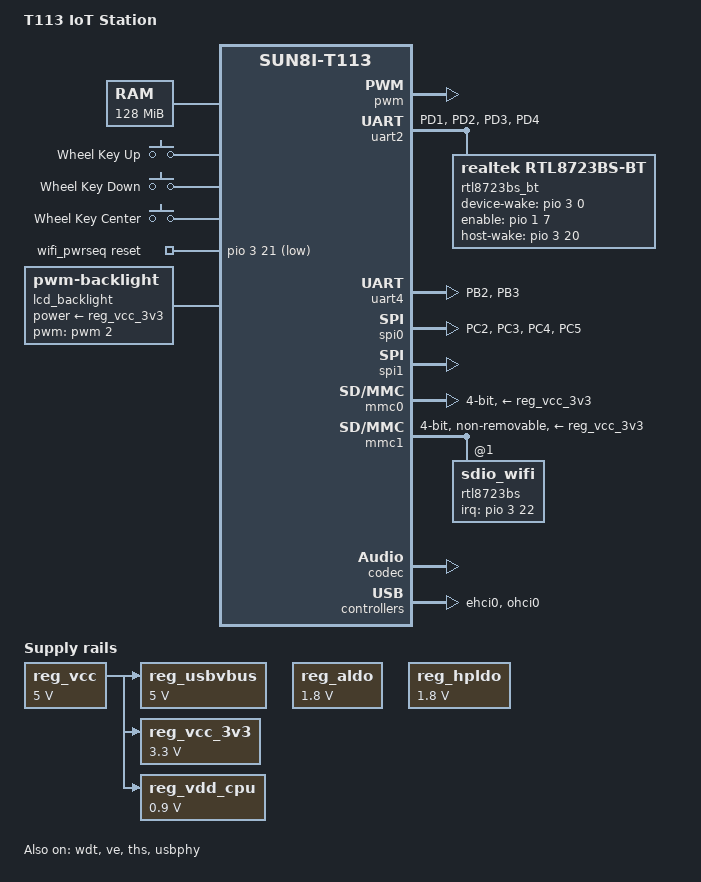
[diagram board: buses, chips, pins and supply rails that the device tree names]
// SPDX-License-Identifier: (GPL-2.0+ or MIT)
// Copyright (C) 2022 Samuel Holland <samuel@sholland.org>

/dts-v1/;

#include <dt-bindings/gpio/gpio.h>
#include <dt-bindings/leds/common.h>
#include <dt-bindings/pwm/pwm.h>
#include <dt-bindings/input/input.h>
#include <dt-bindings/input/gpio-keys.h>
#include "sun8i-t113.dtsi"

/ {
	model = "T113 IoT Station";
	compatible = "fem,t113-iot-station", "allwinner,sun8i-t113";

	aliases {
		ethernet0 = &rtl8723bs;
		mmc0 = &mmc0;
		serial2 = &uart2;
		serial4 = &uart4;
        spi0 = &spi0;
        spi1 = &spi1;
	};

	chosen {
		stdout-path = "serial4:115200n8";
		bootargs = "mem=128M cma=32M root=/dev/mmcblk0p2 rw init=/sbin/init rootwait console=tty0 console=ttyS4,115200";
	};

    memory@40000000 {
		device_type = "memory";
		reg = <0x40000000 0x8000000>;   /* SIP 128MB */
    };
    
	reg_vcc: vcc {
		compatible = "regulator-fixed";
		regulator-name = "vcc";
		regulator-min-microvolt = <5000000>;
		regulator-max-microvolt = <5000000>;
	};

	reg_usbvbus: usbvbus {
		compatible = "regulator-fixed";
		regulator-name = "usbvbus";
		regulator-min-microvolt = <5000000>;
		regulator-max-microvolt = <5000000>;
		vin-supply = <&reg_vcc>;
	};

	reg_vcc_3v3: vcc-3v3 {
		compatible = "regulator-fixed";
		regulator-name = "vcc-3v3";
		regulator-min-microvolt = <3300000>;
		regulator-max-microvolt = <3300000>;
		vin-supply = <&reg_vcc>;
	};

	// reg_avdd2v8: avdd2v8 {
	// 	compatible = "regulator-fixed";
	// 	regulator-name = "avdd2v8";
	// 	regulator-min-microvolt = <2800000>;
	// 	regulator-max-microvolt = <2800000>;
	// 	vin-supply = <&reg_vcc_3v3>;
	// };

	reg_vdd_cpu: vdd-cpu {
		compatible = "regulator-fixed";
		regulator-name = "vdd-cpu";
		regulator-min-microvolt = <900000>;
		regulator-max-microvolt = <900000>;
		vin-supply = <&reg_vcc>;
	};


	// dmic_codec: dmic-codec {
	// 	compatible = "dmic-codec";
	// 	num-channels = <2>;
	// 	#sound-dai-cells = <0>;
	// };

	// dmic-sound {
	// 	compatible = "simple-audio-card";
	// 	#address-cells = <1>;
	// 	#size-cells = <0>;

	// 	simple-audio-card,dai-link@0 {
	// 		format = "pdm";
	// 		frame-master = <&link0_cpu>;
	// 		bitclock-master = <&link0_cpu>;

	// 		link0_cpu: cpu {
	// 			sound-dai = <&dmic>;
	// 		};

	// 		link0_codec: codec {
	// 			sound-dai = <&dmic_codec>;
	// 		};
	// 	};
	// };

	// leds {
	// 	compatible = "gpio-leds";

	// 	status_led {
	// 		linux,default-trigger = "heartbeat";
	// 		label = "blue:status";
	// 		gpios = <&pio 3 22 GPIO_ACTIVE_HIGH>;
	// 	};
	// };

    // rtl8723bs_codec: bt-codec-bt-sco {
    //     #sound-dai-cells = <0>;
    //     compatible = "linux,bt-sco";
    // };

    // rtl8723bs_pcm: bt-sound {
	// 	compatible = "simple-audio-card";
	// 	simple-audio-card,name = "rtl8723bs-bt-pcm";
	// 	simple-audio-card,format = "dsp_a";
    //     simple-audio-card,mclk-fs = <384>;
	// 	simple-audio-card,bitclock-inversion;
	// 	simple-audio-card,frame-master = <&btcpu>;
	// 	simple-audio-card,bitclock-master = <&btcpu>;

	// 	btcpu: simple-audio-card,cpu {
	// 		sound-dai = <&i2s1>;
	// 		dai-tdm-slot-num = <1>;
	// 		dai-tdm-slot-width = <16>;
	// 	};

	// 	simple-audio-card,codec {
	// 		sound-dai = <&rtl8723bs_codec>;
	// 	};
	// };

    wheel_keys: gpio-keys {
        compatible = "gpio-keys";
        autorepeat;

        key-up {
            label = "Wheel Key Up";
            linux,code = <KEY_UP>;
            interrupt-parent = <&pio>;
            interrupts = <4 11 IRQ_TYPE_LEVEL_HIGH>;    /* PE11 */
        };

        key-down {
            label = "Wheel Key Down";
            linux,code = <KEY_DOWN>;
            interrupt-parent = <&pio>;
            interrupts = <4 2 IRQ_TYPE_LEVEL_HIGH>;     /* PE2 */
        };

        key-center {
            label = "Wheel Key Center";
            linux,code = <KEY_ENTER>;
            wakeup-source;
            wakeup-event-action = <EV_ACT_ASSERTED>;
            interrupt-parent = <&pio>;
            interrupts = <6 8 IRQ_TYPE_LEVEL_HIGH>;     /* PG8 */
        };
    };

	wifi_pwrseq: wifi-pwrseq {
		compatible = "mmc-pwrseq-simple";
		// clocks = <&ccu CLK_FANOUT1>;
		// clock-names = "ext_clock";
		reset-gpios = <&pio 3 21 GPIO_ACTIVE_LOW>; /* PD21 */
		// assigned-clocks = <&ccu CLK_FANOUT1>;
		// assigned-clock-rates = <32768>;
		// pinctrl-0 = <&clk_pg11_pin>;
		// pinctrl-names = "default";
	};

    lcd_backlight: backlight {
        compatible = "pwm-backlight";
        pinctrl-0 = <&pwm2_pe8_pins>;
        pinctrl-names = "default";
        pwms = <&pwm 2 200000 0>;
        brightness-levels = <0 1 2 3 4 5 6 7 8 9 10 11 12 13 14 15>;
        default-brightness-level = <15>;
        power-supply = <&reg_vcc_3v3>;
    };
};

&reg_aldo {
    regulator-boot-on;
    regulator-always-on;
	regulator-min-microvolt = <1800000>;
	regulator-max-microvolt = <1800000>;
	vdd33-supply = <&reg_vcc_3v3>;
};

&reg_hpldo {
	regulator-min-microvolt = <1800000>;
	regulator-max-microvolt = <1800000>;
	hpldoin-supply = <&reg_vcc_3v3>;
};

&cpu0 {
	cpu-supply = <&reg_vdd_cpu>;
};

&cpu1 {
	cpu-supply = <&reg_vdd_cpu>;
};

&wdt {
	status = "okay";
};

&ve {
	status = "okay";
};

// &de {
// 	status = "okay";
// };

// &dsi {
// 	pinctrl-0 = <&dsi_4lane_pins>;
// 	pinctrl-names = "default";
// 	status = "disabled";

//         panel: panel@0 {
// 			reg = <0>;
// 			compatible = "lg,lh500wx1-sd03";
// 			pinctrl-names = "default";

// 			// pinctrl-0 = <&panel_pin>;

// 			// port {
// 			// 		panel_in: endpoint {
// 			// 				remote-endpoint = <&dsi0_out>;
// 			// 		};
// 			// };

//         };
// };

&pio {

	vcc-pb-supply = <&reg_vcc_3v3>;
	vcc-pc-supply = <&reg_vcc_3v3>;
	vcc-pd-supply = <&reg_vcc_3v3>;
	vcc-pe-supply = <&reg_vcc_3v3>;
	vcc-pf-supply = <&reg_vcc_3v3>;
	vcc-pg-supply = <&reg_vcc_3v3>;

    uart2_pd1_pins: uart2-pd1-pins {
        pins = "PD1", "PD2";
        function = "uart2";
    };

    uart2_pd3_rts_cts_pins: uart2-pd3-rts-cts-pins {
        pins = "PD3", "PD4";
        function = "uart2";
    };

    uart4_pb2_pins: uart4-pb2-pins {
        pins = "PB2", "PB3";
        function = "uart4";
    };

    // i2s1_pg12_pins: i2s1-pg12-pins {
    //     pins = "PG12", "PG13";
    //     function = "i2s1";
    // };
    // i2s1_pg14_pins: i2s1-pg14-pins {
    //     pins = "PG14";
    //     function = "i2s1_din";
    // };
    // i2s1_pg15_pins: i2s1-pg15-pins {
    //     pins = "PG15";
    //     function = "i2s1_dout";
    // };

    pwm2_pe8_pins: pwm2-pe8-pins {
        pins = "PE8";
        function = "pwm2";
    };

    spi0_basic_pins: spi0-basic-pins {
        pins = "PC2", "PC3", "PC4", "PC5";
        function = "spi0";
    };

	// clk_pg11_pin: clk-pg11-pin {
	// 		pins = "PG11";
	// 		function = "clk";
	// };
};

&pwm {
    status = "okay";
};

&uart2 {
    pinctrl-names = "default";
    pinctrl-0 = <&uart2_pd1_pins>, <&uart2_pd3_rts_cts_pins>;
    uart-has-rtscts;
    status = "okay";

	rtl8723bs_bt: bluetooth {
        compatible = "realtek,rtl8723bs-bt";
        device-wake-gpios = <&pio 3 0 GPIO_ACTIVE_HIGH>;    /* PD0 */
        enable-gpios = <&pio 1 7 GPIO_ACTIVE_HIGH>;         /* PB7 */
        host-wake-gpios = <&pio 3 20 GPIO_ACTIVE_HIGH>;     /* PD20 */
    };
};

&uart4 {
	pinctrl-0 = <&uart4_pb2_pins>;
	pinctrl-names = "default";
	status = "okay";
};

// &i2c2 {
// 	pinctrl-0 = <&i2c2_pe12_pins>;
// 	pinctrl-names = "default";
// 	status = "okay";
// };

&spi0 {
	pinctrl-0 = <&spi0_basic_pins>;
	pinctrl-names = "default";
	status = "okay";
	spi_slave_mode = <0>;
	spi0_cs_number = <1>;
	spi-supply = <&reg_vcc_3v3>;

    // nrf24l01: nrf24l01@0 {
	// 	reg = <0>;
	// 	spi-max-frequency = <1000000>;
    //     status = "okay";
    // };
};

&spi1 {
	pinctrl-0 = <&spi1_pd_pins>;
	pinctrl-names = "default";
	status = "okay";
	spi_slave_mode = <0>;
	spi_dbi_enable = <1>;
	spi1_cs_number = <1>;
	spi-supply = <&reg_vcc_3v3>;

    // st7735s: st7735s@0 {
	// 	reg = <0>;
	// 	spi-max-frequency = <80000000>;
    //     status = "okay";
    // };
};

&mmc0 {
	bus-width = <4>;
	disable-wp;
	vmmc-supply = <&reg_vcc_3v3>;
	vqmmc-supply = <&reg_vcc_3v3>;
	pinctrl-0 = <&mmc0_pins>;
	pinctrl-names = "default";
	status = "okay";
};

&mmc1 {
	bus-width = <4>;
	mmc-pwrseq = <&wifi_pwrseq>;
	non-removable;
	vmmc-supply = <&reg_vcc_3v3>;
	vqmmc-supply = <&reg_vcc_3v3>;
	pinctrl-0 = <&mmc1_pins>;
	pinctrl-names = "default";
	status = "okay";

	rtl8723bs: sdio_wifi@1 {
        reg = <1>;
        interrupt-parent = <&pio>;
        interrupts = <3 22 IRQ_TYPE_LEVEL_HIGH>; /* PD22 */
        interrupt-names = "host-wake";
	};
};

&codec {
	allwinner,routing = 
        "Amplifier In", "HPOUTL",
        "MICIN3", "Mic",
        "MICIN3", "HBIAS";
        // "Headphone Jack", "HPOUTL",
        // "Headphone Jack", "HPOUTR",
        // "LINEINL", "HPOUTL",
        // "LINEINR", "HPOUTR",
        // "MICIN3", "Headset Microphone",
        // "Headset Microphone", "HBIAS";
	allwinner,widgets = 
        "Microphone", "Mic",
        "Headphone", "Amplifier In";
        // "Microphone", "Headset Microphone",
        // "Headphone", "Headphone Jack";
    /* PA GPIO */
    allwinner,pa-gpios = <&pio 6 9 GPIO_ACTIVE_LOW>;
	avcc-supply = <&reg_aldo>;
	hpvcc-supply = <&reg_hpldo>;
	vdd33-supply = <&reg_vcc_3v3>;    
	status = "okay"; 
};

// &i2s1 {
// 	pinctrl-0 = <&i2s1_pg12_pins>, <&i2s1_pg14_pins>, <&i2s1_pg15_pins>;
// 	pinctrl-names = "default";
// 	status = "okay";
//     sound-dai = <&rtl8723bs_codec>;
// };

// &usb_otg {
// 	dr_mode = "otg";
// 	status = "okay";
// };

&ehci0 {
	status = "okay";
};

// &dmic {
// 	status = "okay";
// };

// &ehci1 {
// 	status = "okay";
// };


&ohci0 {
	status = "okay";
};

// &ohci1 {
// 	status = "okay";
// };


&ths {
	status = "okay";
	vref-supply = <&reg_aldo>;
};

&usbphy {
	usb0_vbus-supply = <&reg_usbvbus>;
	usb1_vbus-supply = <&reg_usbvbus>;
	status = "okay";
};

// &mdio {
// 	ext_rgmii_phy: ethernet-phy@1 {
// 		compatible = "ethernet-phy-ieee802.3-c22";
// 		reg = <1>;
// 	};
// };

// &emac {
// 	pinctrl-0 = <&rgmii_pe_pins>;
// 	pinctrl-names = "default";
// 	phy-handle = <&ext_rgmii_phy>;
// 	phy-mode = "rgmii-id";
// 	phy-supply = <&reg_vcc_3v3>;
// 	status = "disabled";
// };

/*
&can0 {
	pinctrl-names = "default";
	pinctrl-0 = <&can0_pins>;
	status = "okay";
};

&can1 {
	pinctrl-names = "default";
	pinctrl-0 = <&can1_pins>;
	status = "disabled";
};
*/
